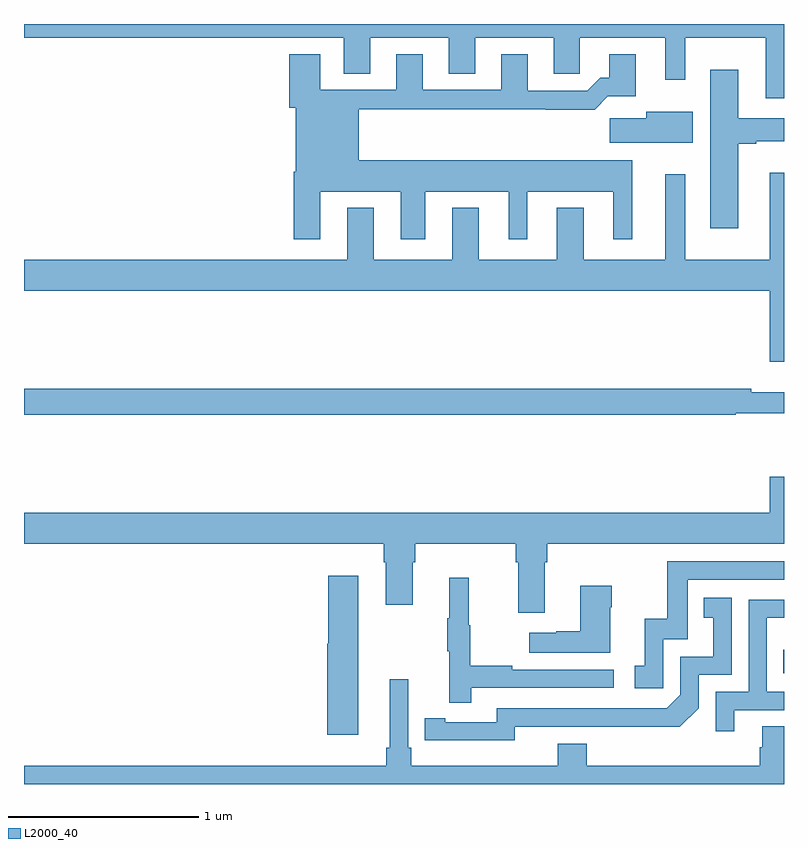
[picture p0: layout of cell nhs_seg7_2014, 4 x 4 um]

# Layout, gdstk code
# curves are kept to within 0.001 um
import gdstk
lib = gdstk.Library(unit=1e-6, precision=1e-09)
def R(c, l, rs):  # rectangles x0, y0, x1, y1
    for r in rs: c.add(gdstk.rectangle(r[:2], r[2:], *l))
def P(c, l, *ps):  # polygons
    for p in ps: c.add(gdstk.Polygon(p, *l))
L2000_40 = (2000, 40)

nhs_seg7_2014 = lib.new_cell('nhs_seg7_2014')
R(nhs_seg7_2014, L2000_40, [(248.995,1018.584,249,1018.707)])
P(nhs_seg7_2014, L2000_40, [(249,1022),(245,1022),(245,1021.928),(246.683,1021.928),(246.683,1021.738),(246.823,1021.738),(246.823,1021.928),(247.235,1021.928),(247.235,1021.738),(247.375,1021.738),(247.375,1021.928),(247.787,1021.928),(247.787,1021.738),(247.926,1021.738),(247.926,1021.928),(248.375,1021.928),(248.375,1021.707),(248.479,1021.707),(248.479,1021.928),(248.903,1021.928),(248.903,1021.608),(249,1021.608)],
  [(246.559,1021.118),(246.983,1021.118),(246.983,1020.867),(247.111,1020.867),(247.111,1021.118),(247.55,1021.118),(247.55,1020.867),(247.648,1020.867),(247.648,1021.118),(248.102,1021.118),(248.102,1020.867),(248.2,1020.867),(248.2,1021.282),(246.763,1021.282),(246.763,1021.552),(247.747,1021.552),(247.747,1021.55),(248.003,1021.55),(248.072,1021.619),(248.221,1021.619),(248.221,1021.84),(248.081,1021.84),(248.081,1021.717),(248.032,1021.717),(247.965,1021.65),(247.651,1021.65),(247.651,1021.84),(247.511,1021.84),(247.511,1021.653),(247.099,1021.653),(247.099,1021.84),(246.959,1021.84),(246.959,1021.653),(246.559,1021.653),(246.559,1021.84),(246.395,1021.84),(246.395,1021.56),(246.431,1021.56),(246.431,1021.222),(246.419,1021.222),(246.419,1020.867),(246.559,1020.867)],
  [(248.758,1021.37),(248.854,1021.37),(248.854,1021.382),(249,1021.382),(249,1021.504),(248.758,1021.504),(248.758,1021.759),(248.612,1021.759),(248.612,1020.924),(248.758,1020.924)],
  [(248.521,1021.537),(248.276,1021.537),(248.276,1021.505),(248.082,1021.505),(248.082,1021.376),(248.521,1021.376)],
  [(249,1021.216),(248.924,1021.216),(248.924,1020.76),(248.479,1020.76),(248.479,1021.21),(248.375,1021.21),(248.375,1020.76),(247.945,1020.76),(247.945,1021.033),(247.805,1021.033),(247.805,1020.76),(247.393,1020.76),(247.393,1021.033),(247.253,1021.033),(247.253,1020.76),(246.841,1020.76),(246.841,1021.033),(246.701,1021.033),(246.701,1020.76),(245,1020.76),(245,1020.596),(248.924,1020.596),(248.924,1020.222),(249,1020.222)],
  [(248.745,1019.952),(249,1019.952),(249,1020.061),(248.828,1020.061),(248.828,1020.08),(245,1020.08),(245,1019.944),(248.745,1019.944)],
  [(247.741,1019.168),(247.754,1019.168),(247.754,1019.264),(249,1019.264),(249,1019.617),(248.924,1019.617),(248.924,1019.428),(245,1019.428),(245,1019.264),(246.893,1019.264),(246.893,1019.168),(246.905,1019.168),(246.905,1018.944),(247.045,1018.944),(247.045,1019.168),(247.058,1019.168),(247.058,1019.264),(247.589,1019.264),(247.589,1019.168),(247.601,1019.168),(247.601,1018.902),(247.741,1018.902)],
  [(248.364,1018.761),(248.493,1018.761),(248.493,1019.076),(249,1019.076),(249,1019.172),(248.385,1019.172),(248.385,1018.87),(248.267,1018.87),(248.267,1018.623),(248.214,1018.623),(248.214,1018.503),(248.364,1018.503)],
  [(246.76,1019.095),(246.602,1019.095),(246.602,1018.737),(246.596,1018.737),(246.596,1018.26),(246.76,1018.26)],
  [(247.355,1018.506),(248.104,1018.506),(248.104,1018.602),(247.571,1018.602),(247.571,1018.622),(247.348,1018.622),(247.348,1018.836),(247.34,1018.836),(247.34,1019.086),(247.238,1019.086),(247.238,1018.873),(247.227,1018.873),(247.227,1018.699),(247.238,1018.699),(247.238,1018.428),(247.355,1018.428)],
  [(248.086,1018.931),(248.094,1018.931),(248.094,1019.044),(247.928,1019.044),(247.928,1018.805),(247.802,1018.805),(247.802,1018.795),(247.659,1018.795),(247.659,1018.691),(248.086,1018.691)],
  [(247.584,1018.302),(248.452,1018.301),(248.55,1018.398),(248.55,1018.575),(248.724,1018.575),(248.724,1018.981),(248.578,1018.981),(248.578,1018.875),(248.627,1018.875),(248.627,1018.671),(248.454,1018.671),(248.454,1018.47),(248.382,1018.398),(247.488,1018.398),(247.488,1018.326),(247.216,1018.326),(247.216,1018.346),(247.108,1018.346),(247.108,1018.23),(247.584,1018.229)],
  [(248.737,1018.389),(249,1018.389),(249,1018.485),(248.91,1018.485),(248.91,1018.874),(249,1018.874),(249,1018.971),(248.814,1018.971),(248.814,1018.485),(248.64,1018.485),(248.64,1018.278),(248.737,1018.278)],
  [(249,1018.304),(248.885,1018.304),(248.885,1018.194),(248.873,1018.194),(248.873,1018.096),(247.961,1018.096),(247.961,1018.213),(247.808,1018.213),(247.808,1018.096),(247.037,1018.096),(247.037,1018.192),(247.023,1018.192),(247.023,1018.552),(246.926,1018.552),(246.926,1018.192),(246.907,1018.192),(246.907,1018.096),(245,1018.096),(245,1018),(249,1018)])

lib.write_gds('nhs_seg7_2014.gds')
